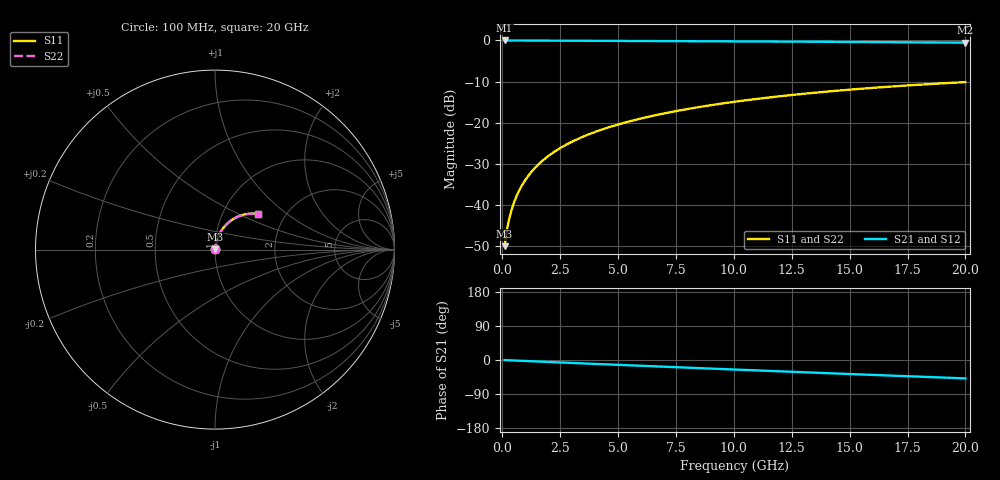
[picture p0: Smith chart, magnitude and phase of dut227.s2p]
! Touchstone file exported from HFSS 2026.1.0
!  File:  C:/ffzhzh/LocalFiles/Ansys_Project_Files/temp_train_BSMRDL_227_1782988172_41620.aedt
!  Generated:  06:30:53 PM Jul  2, 2026
!  Design:  BSMRDL
!  Project:  temp_train_BSMRDL_227_1782988172_41620
! Variables:
!  h_bsmrdl = 5.08um
!  h_ox = 20um
!  h_rdl = 5um
!  h_sub = 80um
!  h_tmrdl = 5um
!  h_tsv = 80um
!  h_via = 3um
!  l_bsmrdl = 788.23um
!  l_sub = 1188.23um
!  l_tmrdl = 200um
!  m_sub = 200um
!  pitch = 48.96um
!  r_tsv = 6um
!  s_tmrdl = 10um
!  w_bsmrdl = 29.01um
!  w_sub = 500um
!  w_tmrdl = 12um
!  x_tsv_center1 = 206um
!  x_tsv_center2 = 1023.24um
!  x_tsv_center3 = 1235.24um
!  x_tsv_center4 = 2052.48um
!  x_tsv_center5 = 2264.48um
!  x_tsv_center6 = 3081.72um
# GHz S MA R 50.000000
! Terminal data exported
! Port[1] = BSM_RDL1_1_T1
! Port[2] = BSM_RDL1_1_T2
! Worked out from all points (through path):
!   200 points, 100 MHz to 20 GHz, reference 50 ohm
!   highest |S21| = -0.02 dB at 100 MHz (marker M1); lowest = -0.5 dB at 20 GHz (marker M2)
!   group delay of S21, straight-line fit = 6.73 ps
!   lowest |S11| = -50.0 dB at 100 MHz (marker M3), VSWR 1.01, Z = 50.2 + j0.229 ohm
!   |S11| at or under -10 dB: start of sweep to end of sweep
!   |S22| runs from -50.0 to -10.1 dB; largest |S21 - S12| = 6.9e-15
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0.1  0.003147 46.4  0.9978 -0.3  0.9978 -0.3  0.003147 46.4
! Gamma 0 0 0 0
! Port Impedance 50 0 50 0
0.2  0.004976 60.7  0.9976 -0.5  0.9976 -0.5  0.004975 60.7
0.3  0.006822 67.2  0.9974 -0.8  0.9974 -0.8  0.006822 67.2
0.4  0.008681 71.1  0.9973 -1.1  0.9973 -1.1  0.008681 71.1
0.5  0.01056 73.6  0.9972 -1.3  0.9972 -1.3  0.01056 73.6
0.6  0.01247 75.4  0.9971 -1.6  0.9971 -1.6  0.01247 75.4
0.8  0.01631 77.6  0.997 -2.1  0.997 -2.1  0.01631 77.6
1.1  0.02212 79.1  0.9967 -2.9  0.9967 -2.9  0.02212 79.1
1.5  0.02988 79.7  0.9962 -3.9  0.9962 -3.9  0.02988 79.7
1.8  0.03567 79.6  0.9958 -4.7  0.9958 -4.7  0.03567 79.6
2.1  0.04143 79.3  0.9954 -5.5  0.9954 -5.5  0.04143 79.3
2.7  0.05282 78.3  0.9943 -7.0  0.9943 -7.0  0.05282 78.3
3.5  0.06773 76.7  0.9927 -9.0  0.9927 -9.0  0.06773 76.7
4.2  0.08052 75.2  0.9911 -10.8  0.9911 -10.8  0.08052 75.2
5  0.09488 73.4  0.9892 -12.8  0.9892 -12.8  0.09488 73.4
5.9  0.1107 71.4  0.9869 -15.0  0.9869 -15.0  0.1107 71.3
6.8  0.1262 69.4  0.9845 -17.3  0.9845 -17.3  0.1262 69.3
8.3  0.1514 65.9  0.9802 -21.0  0.9802 -21.0  0.1514 65.9
10.1  0.1804 61.8  0.9745 -25.4  0.9745 -25.4  0.1804 61.7
13.4  0.2297 54.3  0.9631 -33.3  0.9631 -33.3  0.2297 54.2
16.7  0.2735 46.9  0.951 -41.0  0.951 -41.0  0.2735 46.7
20  0.3111 39.6  0.9389 -48.5  0.9389 -48.5  0.3111 39.4
